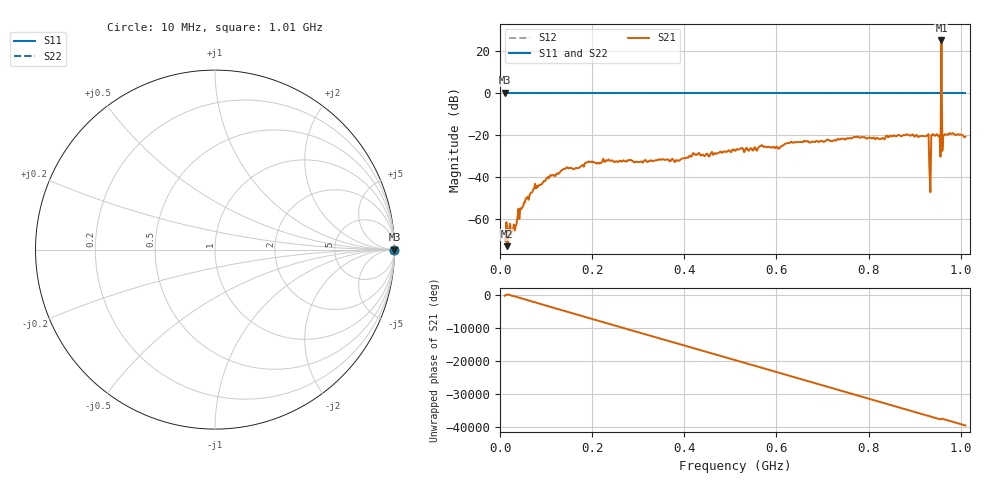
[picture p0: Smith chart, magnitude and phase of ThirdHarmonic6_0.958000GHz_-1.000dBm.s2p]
! 8/16/2025 7:03:37 AM
! C:\ANRITSUVNA\TEMP\TEMP.S2P
! CHANNEL.1
! TR.MEASUREMENT
! RAW.DATA
! RF.CORRECTION.OFF
! AVERAGING.OFF
! IF.BANDWIDTH: 5KHZ
! SWEEPTYPE:  FREQ.SWEEP(Linear)
! Reference Plane Port Info
! PORT:  PORT1  PORT2
! DISTANCE:  0  m  0  m
! TIME:  0  s  0  s
! PHASE.OFFSET:  0  deg.  0  deg.
! LOSS:  0  dB  0  dB
! REF.LOSS:  0  dB  0  dB
! REF.FREQ:  0  Hz  0  Hz
! Power Info
! POWER:  -20  dBm  -20  dBm
! EFF.POWER:  -20  dBm  -20  dBm
! SOURCE.ATTEN:  0  dB  0  dB
! TEST.ATTEN:  0  dB  0  dB
# GHZ S RI R 50.0
! FREQ.GHZ  S11RE  S11IM  S21RE  S21IM  S12RE  S12IM  S22RE  S22IM
!; PortSelection: Port_12
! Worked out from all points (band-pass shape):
!   501 points, 10 MHz to 1.01 GHz, reference 50 ohm
!   highest |S21| = 24.87 dB at 958 MHz (marker M1); lowest = -72.9 dB at 16 MHz (marker M2)
!   |S21| within 3 dB of the highest: 957.8913 MHz to 958.1144 MHz (223.1 kHz wide, 0.0233 % of centre)
!   lowest |S11| = 0.0 dB at 10 MHz (marker M3)
!   |S11| at or under -10 dB: nowhere
!   |S22| runs from 0.0 to 0.0 dB; largest |S21 - S12| = 17
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0.01  1 0  -0.000318 -0.000129  1 0  1 0
0.016  1 0  -0.000202 -0.000104  1 0  1 0
0.032  1 0  0.000536 -3.96e-05  1 0  1 0
0.048  1 0  0.00096 0.0016  1 0  1 0
0.076  1 0  0.00491 0.00483  1 0  1 0
0.142  1 0  -0.0151 -0.00413  1 0  1 0
0.178  1 0  -0.0189 -0.000591  1 0  1 0
0.344  1 0  0.0231 -0.0115  1 0  1 0
0.51  1 0  -0.0353 0.0224  1 0  1 0
0.678  1 0  -0.0538 -0.0444  1 0  1 0
0.844  1 0  0.0886 0.00778  1 0  1 0
0.926  1 0  0.0372 -0.0873  1 0  1 0
0.93  1 0  -0.0677 0.0797  1 0  1 0
0.936  1 0  -0.042 -0.09  1 0  1 0
0.94  1 0  0.013 0.1035  1 0  1 0
0.952  1 0  0.0726 -0.059  1 0  1 0
0.954  1 0  -0.0476 -0.0858  1 0  1 0
0.958  1 0  15.23 -8.668  1 0  1 0
0.962  1 0  0.0133 -0.0963  1 0  1 0
0.964  1 0  -0.0944 -0.0299  1 0  1 0
0.978  1 0  0.1031 -0.0223  1 0  1 0
1.01  1 0  -0.0646 0.0633  1 0  1 0
